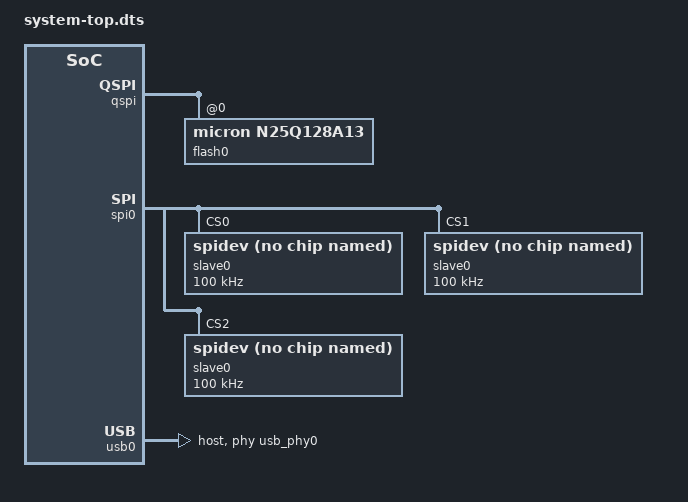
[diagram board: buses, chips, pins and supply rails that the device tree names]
/dts-v1/;
/include/ "system-conf.dtsi"
/ {
};


/{
	ath9k {
		compatible = "ath,ath9k-1.00.a";
		interrupt-parent = <&intc>;
		interrupts = <0 29 4>;
	};
} ;


&qspi {
	flash0: flash@0 {
		compatible = "micron,n25q128a13";
	};
};

&spi0{
 bus-num = <0>;
 slave0@0 {
 compatible = "linux,spidev";
 spi-max-frequency = <100000>;
 reg = <0>;
 };
 slave0@1 {
 compatible = "linux,spidev";
 spi-max-frequency = <100000>;
 reg = <1>;
 };
 slave0@2 {
 compatible = "linux,spidev";
 spi-max-frequency = <100000>;
 reg = <2>;
 };


};

/{

    usb_phy0:phy0 {

        compatible="ulpi-phy";

        #phy-cells = <0>;

       reg = <0xe0002000 0x1000>;

       view-port=<0x170>;

       drv-vbus;

    };


   
};


&usb0 {

        status = "okay";

        dr_mode = "host";

        usb-phy = <&usb_phy0>;

};



